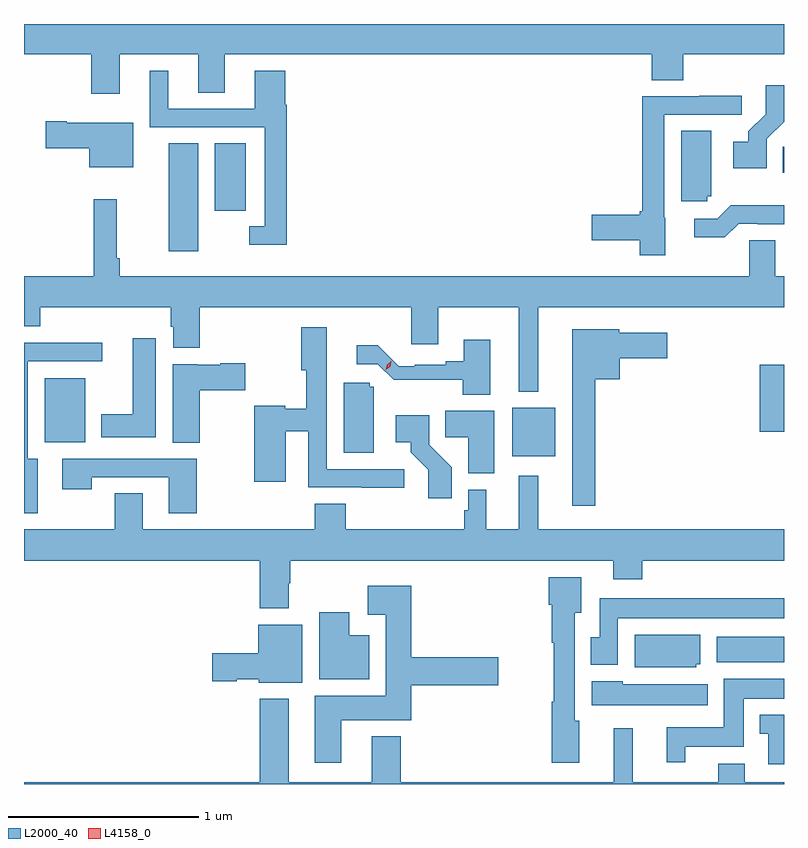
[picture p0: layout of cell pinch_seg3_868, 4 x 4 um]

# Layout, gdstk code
import gdstk
lib = gdstk.Library(unit=1e-6, precision=1e-09)
def R(c, l, rs):  # rectangles x0, y0, x1, y1
    for r in rs: c.add(gdstk.rectangle(r[:2], r[2:], *l))
def P(c, l, *ps):  # polygons
    for p in ps: c.add(gdstk.Polygon(p, *l))
L2000_40 = (2000, 40)
L4158_0 = (4158, 0)

pinch_seg3_868 = lib.new_cell('pinch_seg3_868')
R(pinch_seg3_868, L2000_40, [(663.051,685.73,663.406,685.864), (661.976,686.813,662.203,687.067), (659.516,686.888,659.728,687.223), (663.278,686.943,663.406,687.295), (660.167,687.891,660.322,688.46), (660.41,688.104,660.574,688.46), (663.4,688.304,663.406,688.442)])
P(pinch_seg3_868, L2000_40, [(659.911,688.928),(660.323,688.928),(660.323,688.726),(660.463,688.726),(660.463,688.928),(662.711,688.928),(662.711,688.792),(662.876,688.792),(662.876,688.928),(663.406,688.928),(663.406,689.088),(659.406,689.088),(659.406,688.928),(659.759,688.928),(659.759,688.722),(659.911,688.722)],
  [(660.788,688.662),(660.782,688.662),(660.782,688.843),(660.62,688.843),(660.62,688.641),(660.166,688.641),(660.166,688.843),(660.068,688.843),(660.068,688.545),(660.672,688.545),(660.672,688.023),(660.591,688.023),(660.591,687.926),(660.788,687.926)],
  [(663.315,688.483),(663.406,688.574),(663.406,688.765),(663.309,688.765),(663.309,688.613),(663.218,688.523),(663.218,688.468),(663.138,688.468),(663.138,688.328),(663.315,688.328)],
  [(662.782,688.068),(662.775,688.068),(662.775,688.611),(663.184,688.611),(663.184,688.71),(662.959,688.71),(662.959,688.707),(662.659,688.707),(662.659,688.103),(662.646,688.103),(662.646,688.085),(662.394,688.085),(662.394,687.95),(662.646,687.95),(662.646,687.872),(662.782,687.872)],
  [(659.98,688.567),(659.632,688.567),(659.632,688.575),(659.52,688.575),(659.52,688.433),(659.75,688.433),(659.75,688.334),(659.98,688.334)],
  [(663.003,688.182),(663.022,688.182),(663.022,688.526),(662.864,688.526),(662.864,688.155),(663.003,688.155)],
  [(662.113,687.596),(663.406,687.596),(663.406,687.76),(663.361,687.76),(663.361,687.95),(663.222,687.95),(663.222,687.76),(659.909,687.76),(659.909,687.856),(659.894,687.856),(659.894,688.165),(659.773,688.165),(659.773,687.76),(659.406,687.76),(659.406,687.497),(659.492,687.497),(659.492,687.596),(660.179,687.596),(660.179,687.495),(660.191,687.495),(660.191,687.383),(660.332,687.383),(660.332,687.596),(661.445,687.596),(661.445,687.402),(661.585,687.402),(661.585,687.596),(662.009,687.596),(662.009,687.152),(662.113,687.152)],
  [(663.168,688.038),(663.268,688.038),(663.268,688.035),(663.406,688.035),(663.406,688.135),(663.127,688.135),(663.054,688.062),(662.934,688.062),(662.934,687.965),(663.095,687.965)],
  [(661.408,686.745),(660.999,686.745),(660.999,687.27),(661,687.27),(661,687.493),(660.866,687.493),(660.866,687.266),(660.891,687.266),(660.891,687.062),(660.78,687.062),(660.78,687.08),(660.619,687.08),(660.619,686.679),(660.784,686.679),(660.784,686.944),(660.903,686.944),(660.903,686.649),(661.183,686.649),(661.183,686.647),(661.408,686.647)],
  [(662.413,687.218),(662.542,687.218),(662.542,687.329),(662.791,687.329),(662.791,687.463),(662.538,687.463),(662.538,687.481),(662.291,687.481),(662.291,686.553),(662.413,686.553)],
  [(660.1,687.433),(659.978,687.433),(659.978,687.034),(659.813,687.034),(659.813,686.912),(660.1,686.912)],
  [(661.861,687.427),(661.721,687.427),(661.721,687.312),(661.625,687.312),(661.625,687.295),(661.462,687.295),(661.462,687.286),(661.379,687.286),(661.269,687.397),(661.158,687.397),(661.158,687.297),(661.268,687.297),(661.351,687.215),(661.714,687.215),(661.714,687.137),(661.861,687.137)],
  [(659.479,686.8),(659.425,686.8),(659.425,687.312),(659.818,687.312),(659.818,687.41),(659.406,687.41),(659.406,686.514),(659.479,686.514)],
  [(660.33,687.161),(660.571,687.161),(660.571,687.303),(660.438,687.303),(660.438,687.295),(660.318,687.295),(660.318,687.298),(660.188,687.298),(660.188,686.884),(660.33,686.884)],
  [(661.246,687.18),(661.227,687.18),(661.227,687.201),(661.088,687.201),(661.088,686.832),(661.246,686.832)],
  [(661.882,687.052),(661.624,687.052),(661.624,686.914),(661.745,686.914),(661.745,686.723),(661.882,686.723)],
  [(661.658,686.754),(661.539,686.873),(661.539,687.028),(661.362,687.028),(661.362,686.888),(661.442,686.888),(661.442,686.833),(661.533,686.743),(661.533,686.592),(661.658,686.592)],
  [(660.315,686.799),(659.607,686.799),(659.607,686.64),(659.763,686.64),(659.763,686.703),(660.167,686.703),(660.167,686.514),(660.315,686.514)],
  [(660.799,686.144),(660.807,686.144),(660.807,686.264),(662.507,686.264),(662.507,686.165),(662.66,686.165),(662.66,686.264),(663.406,686.264),(663.406,686.428),(662.113,686.428),(662.113,686.71),(662.009,686.71),(662.009,686.428),(661.84,686.428),(661.84,686.638),(661.743,686.638),(661.743,686.529),(661.723,686.529),(661.723,686.428),(661.1,686.428),(661.1,686.564),(660.935,686.564),(660.935,686.428),(660.031,686.428),(660.031,686.618),(659.884,686.618),(659.884,686.428),(659.406,686.428),(659.406,686.264),(660.647,686.264),(660.647,686.012),(660.799,686.012)],
  [(662.329,685.422),(662.305,685.422),(662.305,685.989),(662.338,685.989),(662.338,686.176),(662.168,686.176),(662.168,686.031),(662.183,686.031),(662.183,685.831),(662.195,685.831),(662.195,685.522),(662.183,685.522),(662.183,685.2),(662.329,685.2)],
  [(661.075,685.424),(661.445,685.424),(661.445,685.607),(661.903,685.607),(661.903,685.754),(661.445,685.754),(661.445,686.131),(661.215,686.131),(661.215,685.979),(661.31,685.979),(661.31,685.552),(660.935,685.552),(660.935,685.2),(661.075,685.2)],
  [(662.532,685.961),(663.406,685.961),(663.406,686.065),(662.435,686.065),(662.435,685.86),(662.39,685.86),(662.39,685.716),(662.532,685.716)],
  [(661.222,685.87),(661.117,685.87),(661.117,685.993),(660.959,685.993),(660.959,685.64),(661.222,685.64)],
  [(660.871,685.927),(660.638,685.927),(660.638,685.775),(660.396,685.775),(660.396,685.628),(660.525,685.628),(660.525,685.64),(660.642,685.64),(660.642,685.622),(660.871,685.622)],
  [(662.943,685.719),(662.965,685.719),(662.965,685.873),(662.621,685.873),(662.621,685.703),(662.943,685.703)],
  [(662.887,685.283),(663.193,685.283),(663.193,685.538),(663.406,685.538),(663.406,685.642),(663.089,685.642),(663.089,685.387),(662.789,685.387),(662.789,685.203),(662.887,685.203)],
  [(663.004,685.612),(662.556,685.612),(662.556,685.63),(662.394,685.63),(662.394,685.502),(663.004,685.502)],
  [(663.406,685.096),(663.199,685.096),(663.199,685.195),(663.059,685.195),(663.059,685.096),(662.609,685.096),(662.609,685.381),(662.51,685.381),(662.51,685.096),(661.388,685.096),(661.388,685.339),(661.235,685.339),(661.235,685.096),(660.799,685.096),(660.799,685.537),(660.647,685.537),(660.647,685.096),(659.406,685.096),(659.406,685.088),(663.406,685.088)],
  [(663.406,685.453),(663.278,685.453),(663.278,685.353),(663.324,685.353),(663.324,685.191),(663.406,685.191)])
P(pinch_seg3_868, L4158_0, [(661.311,687.267),(661.311,687.268),(661.317,687.295),(661.34,687.312),(661.34,687.312),(661.34,687.312),(661.334,687.284),(661.311,687.268)])

lib.write_gds('pinch_seg3_868.gds')
